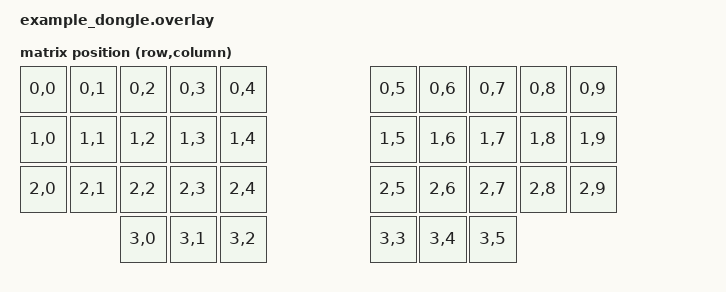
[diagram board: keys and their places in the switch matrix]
/*
 * Smallest dongle shield that dongle_tft can be built against: a 3x5+3 split
 * central with no matrix of its own.
 *
 * It exists so this repository can prove in CI that the module compiles
 * without depending on any particular keyboard, and so you have something to
 * copy. In real use you would pair dongle_tft with your keyboard's own dongle
 * shield instead — see the README.
 *
 * SPDX-License-Identifier: MIT
 */

#include <dt-bindings/zmk/matrix_transform.h>
#include <physical_layouts.dtsi>

/ {
    chosen {
        zmk,kscan = &mock_kscan;
        zmk,physical-layout = &layout_3x5_3;
    };

    /* A dongle has no switches wired to it; the halves send positions. */
    mock_kscan: kscan_mock {
        compatible = "zmk,kscan-mock";
        columns = <0>;
        rows = <0>;
        events = <0>;
    };

    transform_3x5_3: keymap_transform_0 {
        compatible = "zmk,matrix-transform";
        columns = <10>;
        rows = <4>;

        map = <
            RC(0,0) RC(0,1) RC(0,2) RC(0,3) RC(0,4)   RC(0,5) RC(0,6) RC(0,7) RC(0,8) RC(0,9)
            RC(1,0) RC(1,1) RC(1,2) RC(1,3) RC(1,4)   RC(1,5) RC(1,6) RC(1,7) RC(1,8) RC(1,9)
            RC(2,0) RC(2,1) RC(2,2) RC(2,3) RC(2,4)   RC(2,5) RC(2,6) RC(2,7) RC(2,8) RC(2,9)
                            RC(3,0) RC(3,1) RC(3,2)   RC(3,3) RC(3,4) RC(3,5)
        >;
    };

    layout_3x5_3: layout_3x5_3 {
        compatible = "zmk,physical-layout";
        display-name = "3x5+3";
        transform = <&transform_3x5_3>;

        keys  //                     w   h    x    y
            = <&key_physical_attrs 100 100    0    0   0 0 0>
            , <&key_physical_attrs 100 100  100    0   0 0 0>
            , <&key_physical_attrs 100 100  200    0   0 0 0>
            , <&key_physical_attrs 100 100  300    0   0 0 0>
            , <&key_physical_attrs 100 100  400    0   0 0 0>
            , <&key_physical_attrs 100 100  700    0   0 0 0>
            , <&key_physical_attrs 100 100  800    0   0 0 0>
            , <&key_physical_attrs 100 100  900    0   0 0 0>
            , <&key_physical_attrs 100 100 1000    0   0 0 0>
            , <&key_physical_attrs 100 100 1100    0   0 0 0>
            , <&key_physical_attrs 100 100    0  100   0 0 0>
            , <&key_physical_attrs 100 100  100  100   0 0 0>
            , <&key_physical_attrs 100 100  200  100   0 0 0>
            , <&key_physical_attrs 100 100  300  100   0 0 0>
            , <&key_physical_attrs 100 100  400  100   0 0 0>
            , <&key_physical_attrs 100 100  700  100   0 0 0>
            , <&key_physical_attrs 100 100  800  100   0 0 0>
            , <&key_physical_attrs 100 100  900  100   0 0 0>
            , <&key_physical_attrs 100 100 1000  100   0 0 0>
            , <&key_physical_attrs 100 100 1100  100   0 0 0>
            , <&key_physical_attrs 100 100    0  200   0 0 0>
            , <&key_physical_attrs 100 100  100  200   0 0 0>
            , <&key_physical_attrs 100 100  200  200   0 0 0>
            , <&key_physical_attrs 100 100  300  200   0 0 0>
            , <&key_physical_attrs 100 100  400  200   0 0 0>
            , <&key_physical_attrs 100 100  700  200   0 0 0>
            , <&key_physical_attrs 100 100  800  200   0 0 0>
            , <&key_physical_attrs 100 100  900  200   0 0 0>
            , <&key_physical_attrs 100 100 1000  200   0 0 0>
            , <&key_physical_attrs 100 100 1100  200   0 0 0>
            , <&key_physical_attrs 100 100  200  300   0 0 0>
            , <&key_physical_attrs 100 100  300  300   0 0 0>
            , <&key_physical_attrs 100 100  400  300   0 0 0>
            , <&key_physical_attrs 100 100  700  300   0 0 0>
            , <&key_physical_attrs 100 100  800  300   0 0 0>
            , <&key_physical_attrs 100 100  900  300   0 0 0>
            ;
    };
};
